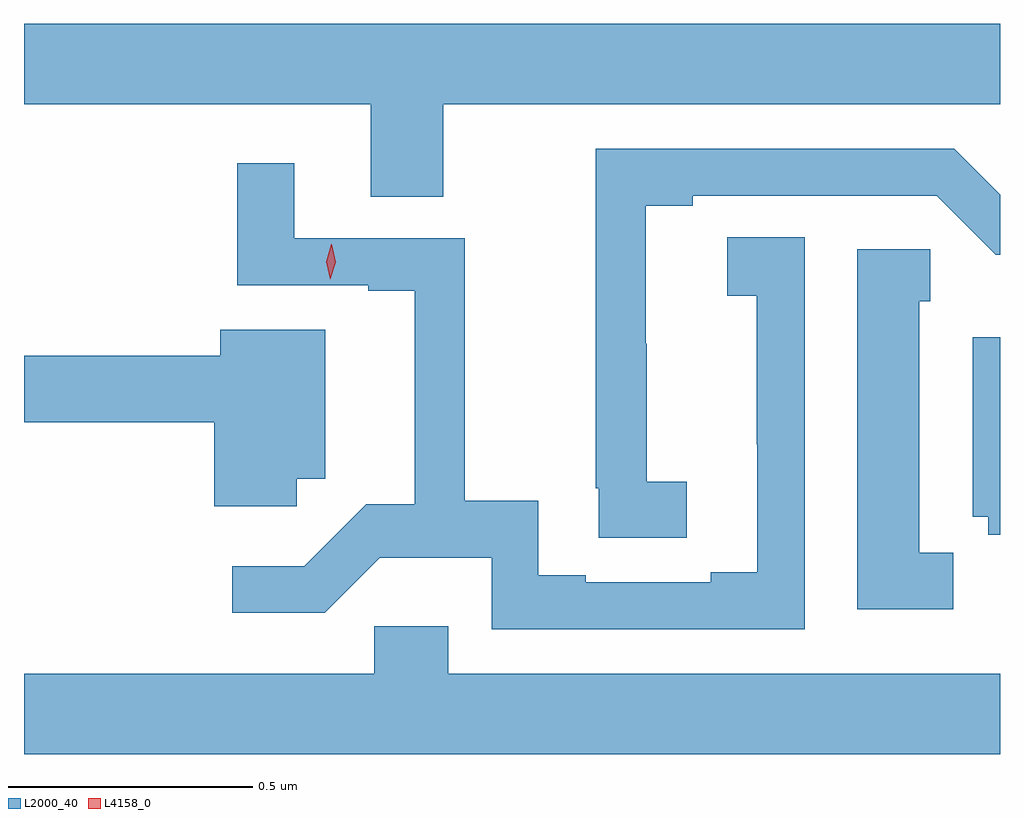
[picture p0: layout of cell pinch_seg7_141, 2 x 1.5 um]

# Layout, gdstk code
import gdstk
lib = gdstk.Library(unit=1e-6, precision=1e-09)
def P(c, l, *ps):  # polygons
    for p in ps: c.add(gdstk.Polygon(p, *l))
L2000_40 = (2000, 40)
L4158_0 = (4158, 0)

pinch_seg7_141 = lib.new_cell('pinch_seg7_141')
P(pinch_seg7_141, L2000_40, [(1073.115,1031.252),(1074.256,1031.252),(1074.256,1031.416),(1072.256,1031.416),(1072.256,1031.252),(1072.967,1031.252),(1072.967,1031.062),(1073.115,1031.062)],
  [(1073.614,1030.478),(1073.532,1030.478),(1073.532,1030.761),(1073.53,1030.761),(1073.53,1031.044),(1073.626,1031.044),(1073.626,1031.064),(1074.126,1031.064),(1074.247,1030.943),(1074.256,1030.943),(1074.256,1031.066),(1074.162,1031.16),(1073.428,1031.16),(1073.428,1030.465),(1073.434,1030.465),(1073.434,1030.363),(1073.614,1030.363)],
  [(1073.856,1030.979),(1073.697,1030.979),(1073.697,1030.859),(1073.758,1030.859),(1073.758,1030.555),(1073.759,1030.555),(1073.759,1030.292),(1073.663,1030.292),(1073.663,1030.272),(1073.407,1030.272),(1073.407,1030.286),(1073.31,1030.286),(1073.31,1030.439),(1073.159,1030.439),(1073.159,1030.977),(1072.81,1030.977),(1072.81,1031.131),(1072.693,1031.131),(1072.693,1030.881),(1072.961,1030.881),(1072.961,1030.869),(1073.057,1030.869),(1073.057,1030.432),(1072.957,1030.432),(1072.83,1030.305),(1072.683,1030.305),(1072.683,1030.209),(1072.872,1030.209),(1072.985,1030.322),(1073.214,1030.322),(1073.214,1030.176),(1073.856,1030.176)],
  [(1074.16,1030.332),(1074.091,1030.332),(1074.091,1030.848),(1074.113,1030.848),(1074.113,1030.954),(1073.963,1030.954),(1073.963,1030.217),(1074.16,1030.217)],
  [(1072.815,1030.484),(1072.873,1030.484),(1072.873,1030.789),(1072.658,1030.789),(1072.658,1030.736),(1072.256,1030.736),(1072.256,1030.6),(1072.646,1030.6),(1072.646,1030.428),(1072.815,1030.428)],
  [(1074.256,1030.774),(1074.2,1030.774),(1074.2,1030.406),(1074.232,1030.406),(1074.232,1030.369),(1074.256,1030.369)],
  [(1074.256,1030.084),(1073.125,1030.084),(1073.125,1030.182),(1072.974,1030.182),(1072.974,1030.084),(1072.256,1030.084),(1072.256,1029.92),(1074.256,1029.92)])
P(pinch_seg7_141, L4158_0, [(1072.884,1030.893),(1072.884,1030.893),(1072.875,1030.929),(1072.886,1030.965),(1072.887,1030.965),(1072.887,1030.965),(1072.895,1030.928),(1072.884,1030.893)])

lib.write_gds('pinch_seg7_141.gds')
